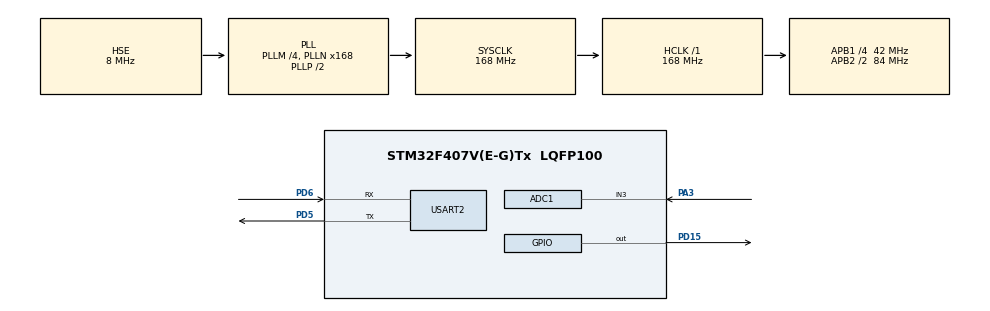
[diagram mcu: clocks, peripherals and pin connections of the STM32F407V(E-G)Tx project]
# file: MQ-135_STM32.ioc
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ADC1.Channel-0\#ChannelRegularConversion=ADC_CHANNEL_3
ADC1.ContinuousConvMode=ENABLE
ADC1.InjNumberOfConversion=0
ADC1.NbrOfConversion=1
ADC1.NbrOfConversionFlag=1
ADC1.Rank-0\#ChannelRegularConversion=1
ADC1.SamplingTime-0\#ChannelRegularConversion=ADC_SAMPLETIME_144CYCLES
ADC1.master=1
Mcu.Family=STM32F4
Mcu.Name=STM32F407V(E-G)Tx
Mcu.Package=LQFP100
NVIC.PriorityGroup=NVIC_PRIORITYGROUP_4
NVIC.USART2_IRQn=true\:0\:0\:false\:false\:true\:true\:true\:true
PA3.Signal=ADCx_IN3
PD15.PinState=GPIO_PIN_SET
PD15.Signal=GPIO_Output
PD5.Mode=Asynchronous
PD5.Signal=USART2_TX
PD6.Mode=Asynchronous
PD6.Signal=USART2_RX
PH0-OSC_IN.Mode=HSE-External-Oscillator
PH0-OSC_IN.Signal=RCC_OSC_IN
PH1-OSC_OUT.Mode=HSE-External-Oscillator
PH1-OSC_OUT.Signal=RCC_OSC_OUT
ProjectManager.HeapSize=0x200
ProjectManager.StackSize=0x400
ProjectManager.TargetToolchain=STM32CubeIDE
RCC.48MHZClocksFreq_Value=84000000
RCC.AHBFreq_Value=168000000
RCC.APB1CLKDivider=RCC_HCLK_DIV4
RCC.APB1Freq_Value=42000000
RCC.APB1TimFreq_Value=84000000
RCC.APB2CLKDivider=RCC_HCLK_DIV2
RCC.APB2Freq_Value=84000000
RCC.APB2TimFreq_Value=168000000
RCC.CortexFreq_Value=168000000
RCC.HCLKFreq_Value=168000000
RCC.HSE_VALUE=8000000
RCC.HSI_VALUE=16000000
RCC.LSE_VALUE=32768
RCC.PLLM=4
RCC.PLLN=168
RCC.PLLSourceVirtual=RCC_PLLSOURCE_HSE
RCC.SYSCLKFreq_VALUE=168000000
RCC.SYSCLKSource=RCC_SYSCLKSOURCE_PLLCLK
RCC.VCOOutputFreq_Value=336000000
RTC.Format=RTC_FORMAT_BIN
RTC.Hours=23
RTC.Minutes=59
RTC.Month=RTC_MONTH_NOVEMBER
RTC.Seconds=59
RTC.WeekDay=RTC_WEEKDAY_TUESDAY
RTC.Year=22
SH.ADCx_IN3.0=ADC1_IN3,IN3
USART2.VirtualMode=VM_ASYNC
VP_RTC_VS_RTC_Activate.Mode=RTC_Enabled
VP_RTC_VS_RTC_Calendar.Mode=RTC_Calendar
board=custom

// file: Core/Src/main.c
/* USER CODE BEGIN Header */
/**
 ******************************************************************************
 * @file           : main.c
 * @brief          : Main program body
 ******************************************************************************
 * @attention
 *
 * Copyright (c) 2022 STMicroelectronics.
 * All rights reserved.
 *
 * This software is licensed under terms that can be found in the LICENSE file
 * in the root directory of this software component.
 * If no LICENSE file comes with this software, it is provided AS-IS.
 *
 ******************************************************************************
 */
/* USER CODE END Header */
#include "main.h"

/* USER CODE BEGIN Includes */

#include "string.h"
#include "mq135_sensor.h"

#include <stdlib.h>
#include <stdio.h>

char rxdata[16];					// Array for receiving data

char txdata[64];					// Array for transmitting data

uint8_t buffer;

uint32_t qtime;						// Data transmitting time

char data_tim[32];					// Array for read real time from RTC
char data_date[32];					// Array for read real date from RTC

/*Private typedef------------------------------------*/

/* USER CODE END Includes */

/* USER CODE BEGIN PTD */

mq135_t mq135_sensor;

/* USER CODE END PTD */

ADC_HandleTypeDef hadc1;

RTC_HandleTypeDef hrtc;

UART_HandleTypeDef huart2;

void SystemClock_Config(void);
static void MX_GPIO_Init(void);
static void MX_ADC1_Init(void);
static void MX_USART2_UART_Init(void);
static void MX_RTC_Init(void);

/* USER CODE BEGIN 0 */

void HAL_UART_RxCpltCallback(UART_HandleTypeDef *huart) {

	HAL_UART_Receive_IT(&huart2, (uint8_t*) rxdata, 16);

	char *str;
	char *p2;

	char buffer[32];

	str = strstr(rxdata, "$");

	if (str != NULL) {
		p2 = strstr(str, "\n");
		if (p2 != NULL) {
			memset(buffer, 0, 32);
			sprintf(buffer, "%.*s", p2 - str - 1, str + 1);
			qtime = atoi(buffer);
		}
	}
}

/* USER CODE END 0 */

int main(void) {

	/* MCU Configuration--------------------------------------------------------*/

	/* Reset of all peripherals, Initializes the Flash interface and the Systick. */
	HAL_Init();

	/* Configure the system clock */
	SystemClock_Config();

	/* USER CODE BEGIN SysInit */

	RTC_TimeTypeDef sTime;
	RTC_DateTypeDef sDate;

	/* USER CODE END SysInit */

	/* Initialize all configured peripherals */
	MX_GPIO_Init();
	MX_ADC1_Init();
	MX_USART2_UART_Init();
	MX_RTC_Init();
	/* USER CODE BEGIN 2 */
	volatile uint32_t ltime;				// Time variable for led
	volatile uint32_t sensor_time;		// Time variable for sensor

	init_mq135_sensor(&mq135_sensor, &hadc1); // mq135 init func

	HAL_UART_Receive_IT(&huart2, &buffer, 1);
	/* USER CODE END 2 */

	/* Infinite loop */
	while (1) {

		/* USER CODE BEGIN 3 */

		/*    ********     READ Sensor     ********      */
		read_mq135_sensor(&mq135_sensor);

		/*    ******** TRANSMIT OPERATIONS ********       */

		if (HAL_GetTick() - sensor_time >= qtime) {

			HAL_RTC_GetDate(&hrtc, &sDate, RTC_FORMAT_BIN);

			sprintf(data_date, "%d.%d.%d ---------", sDate.Date, sDate.Month,
					sDate.Year);
			HAL_UART_Transmit(&huart2, (uint8_t*) data_date, sizeof(data_tim),
					1000);

			/*    *********  	RTC    **********         */

			HAL_RTC_GetTime(&hrtc, &sTime, RTC_FORMAT_BIN);

			sprintf(data_tim, "%d:%d:%d ---------", sTime.Hours, sTime.Minutes,
					sTime.Seconds);
			HAL_UART_Transmit(&huart2, (uint8_t*) data_tim, sizeof(data_tim),
					1000);

			/*     ******  TRANSMITTING SENSOR DATA   *****       */

			sprintf(txdata, "$%f;\n", mq135_sensor.gas_carbon_dioxide);
			HAL_UART_Transmit(&huart2, (uint8_t*) txdata, sizeof(txdata), 1000);

			sensor_time = HAL_GetTick();

		}

		/*      *******   LED BLINK EVERY 100 MS    ******    */

		if (HAL_GetTick() - ltime >= 100) {

			HAL_GPIO_TogglePin(GPIOD, GPIO_PIN_15);

			ltime = HAL_GetTick();
		}

	}

	/* USER CODE END 3 */
}

void SystemClock_Config(void) {
	RCC_OscInitTypeDef RCC_OscInitStruct = { 0 };
	RCC_ClkInitTypeDef RCC_ClkInitStruct = { 0 };

	/** Configure the main internal regulator output voltage
	 */
	__HAL_RCC_PWR_CLK_ENABLE();
	__HAL_PWR_VOLTAGESCALING_CONFIG(PWR_REGULATOR_VOLTAGE_SCALE1);

	/** Initializes the RCC Oscillators according to the specified parameters
	 * in the RCC_OscInitTypeDef structure.
	 */
	RCC_OscInitStruct.OscillatorType = RCC_OSCILLATORTYPE_LSI
			| RCC_OSCILLATORTYPE_HSE;
	RCC_OscInitStruct.HSEState = RCC_HSE_ON;
	RCC_OscInitStruct.LSIState = RCC_LSI_ON;
	RCC_OscInitStruct.PLL.PLLState = RCC_PLL_ON;
	RCC_OscInitStruct.PLL.PLLSource = RCC_PLLSOURCE_HSE;
	RCC_OscInitStruct.PLL.PLLM = 4;
	RCC_OscInitStruct.PLL.PLLN = 168;
	RCC_OscInitStruct.PLL.PLLP = RCC_PLLP_DIV2;
	RCC_OscInitStruct.PLL.PLLQ = 4;
	if (HAL_RCC_OscConfig(&RCC_OscInitStruct) != HAL_OK) {
		Error_Handler();
	}

	/** Initializes the CPU, AHB and APB buses clocks
	 */
	RCC_ClkInitStruct.ClockType = RCC_CLOCKTYPE_HCLK | RCC_CLOCKTYPE_SYSCLK
			| RCC_CLOCKTYPE_PCLK1 | RCC_CLOCKTYPE_PCLK2;
	RCC_ClkInitStruct.SYSCLKSource = RCC_SYSCLKSOURCE_PLLCLK;
	RCC_ClkInitStruct.AHBCLKDivider = RCC_SYSCLK_DIV1;
	RCC_ClkInitStruct.APB1CLKDivider = RCC_HCLK_DIV4;
	RCC_ClkInitStruct.APB2CLKDivider = RCC_HCLK_DIV2;

	if (HAL_RCC_ClockConfig(&RCC_ClkInitStruct, FLASH_LATENCY_5) != HAL_OK) {
		Error_Handler();
	}
}

static void MX_ADC1_Init(void) {

	ADC_ChannelConfTypeDef sConfig = { 0 };

	/** Configure the global features of the ADC (Clock, Resolution, Data Alignment and number of conversion)
	 */
	hadc1.Instance = ADC1;
	hadc1.Init.ClockPrescaler = ADC_CLOCK_SYNC_PCLK_DIV4;
	hadc1.Init.Resolution = ADC_RESOLUTION_12B;
	hadc1.Init.ScanConvMode = DISABLE;
	hadc1.Init.ContinuousConvMode = ENABLE;
	hadc1.Init.DiscontinuousConvMode = DISABLE;
	hadc1.Init.ExternalTrigConvEdge = ADC_EXTERNALTRIGCONVEDGE_NONE;
	hadc1.Init.ExternalTrigConv = ADC_SOFTWARE_START;
	hadc1.Init.DataAlign = ADC_DATAALIGN_RIGHT;
	hadc1.Init.NbrOfConversion = 1;
	hadc1.Init.DMAContinuousRequests = DISABLE;
	hadc1.Init.EOCSelection = ADC_EOC_SINGLE_CONV;
	if (HAL_ADC_Init(&hadc1) != HAL_OK) {
		Error_Handler();
	}

	/** Configure for the selected ADC regular channel its corresponding rank in the sequencer and its sample time.
	 */
	sConfig.Channel = ADC_CHANNEL_3;
	sConfig.Rank = 1;
	sConfig.SamplingTime = ADC_SAMPLETIME_144CYCLES;
	if (HAL_ADC_ConfigChannel(&hadc1, &sConfig) != HAL_OK) {
		Error_Handler();
	}

}

static void MX_RTC_Init(void) {

	RTC_TimeTypeDef sTime = { 0 };
	RTC_DateTypeDef sDate = { 0 };

	/** Initialize RTC Only
	 */
	hrtc.Instance = RTC;
	hrtc.Init.HourFormat = RTC_HOURFORMAT_24;
	hrtc.Init.AsynchPrediv = 127;
	hrtc.Init.SynchPrediv = 255;
	hrtc.Init.OutPut = RTC_OUTPUT_DISABLE;
	hrtc.Init.OutPutPolarity = RTC_OUTPUT_POLARITY_HIGH;
	hrtc.Init.OutPutType = RTC_OUTPUT_TYPE_OPENDRAIN;
	if (HAL_RTC_Init(&hrtc) != HAL_OK) {
		Error_Handler();
	}

	/** Initialize RTC and set the Time and Date
	 */
	sTime.Hours = 15;
	sTime.Minutes = 38;
	sTime.Seconds = 00;
	sTime.DayLightSaving = RTC_DAYLIGHTSAVING_NONE;
	sTime.StoreOperation = RTC_STOREOPERATION_RESET;
	if (HAL_RTC_SetTime(&hrtc, &sTime, RTC_FORMAT_BIN) != HAL_OK) {
		Error_Handler();
	}
	sDate.WeekDay = RTC_WEEKDAY_TUESDAY;
	sDate.Month = RTC_MONTH_NOVEMBER;
	sDate.Date = 1;
	sDate.Year = 22;

	if (HAL_RTC_SetDate(&hrtc, &sDate, RTC_FORMAT_BIN) != HAL_OK) {
		Error_Handler();
	}

}

static void MX_USART2_UART_Init(void) {

	huart2.Instance = USART2;
	huart2.Init.BaudRate = 115200;
	huart2.Init.WordLength = UART_WORDLENGTH_8B;
	huart2.Init.StopBits = UART_STOPBITS_1;
	huart2.Init.Parity = UART_PARITY_NONE;
	huart2.Init.Mode = UART_MODE_TX_RX;
	huart2.Init.HwFlowCtl = UART_HWCONTROL_NONE;
	huart2.Init.OverSampling = UART_OVERSAMPLING_16;
	if (HAL_UART_Init(&huart2) != HAL_OK) {
		Error_Handler();
	}

}

static void MX_GPIO_Init(void) {
	GPIO_InitTypeDef GPIO_InitStruct = { 0 };

	/* GPIO Ports Clock Enable */
	__HAL_RCC_GPIOH_CLK_ENABLE();
	__HAL_RCC_GPIOA_CLK_ENABLE();
	__HAL_RCC_GPIOD_CLK_ENABLE();

	/*Configure GPIO pin Output Level */
	HAL_GPIO_WritePin(GPIOD, GPIO_PIN_15, GPIO_PIN_SET);

	/*Configure GPIO pin : PD15 */
	GPIO_InitStruct.Pin = GPIO_PIN_15;
	GPIO_InitStruct.Mode = GPIO_MODE_OUTPUT_PP;
	GPIO_InitStruct.Pull = GPIO_NOPULL;
	GPIO_InitStruct.Speed = GPIO_SPEED_FREQ_LOW;
	HAL_GPIO_Init(GPIOD, &GPIO_InitStruct);

}

void Error_Handler(void) {
	__disable_irq();
	while (1) {
	}
}
